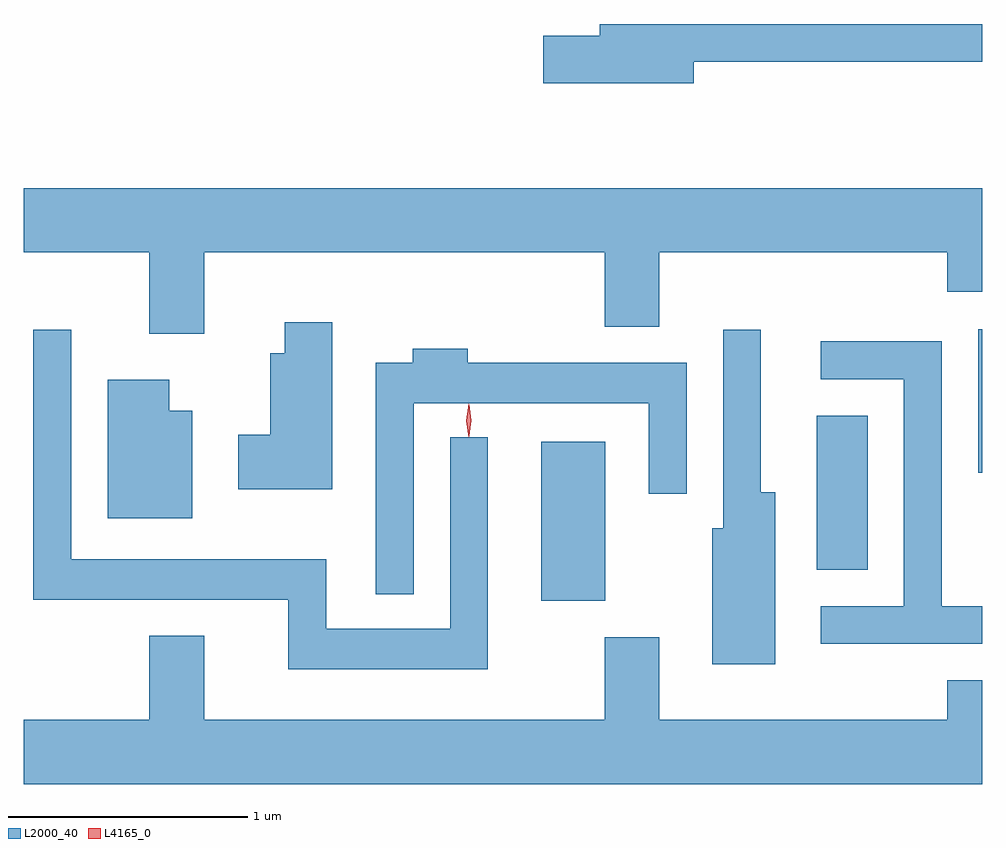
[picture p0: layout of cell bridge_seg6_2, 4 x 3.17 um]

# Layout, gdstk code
import gdstk
lib = gdstk.Library(unit=1e-6, precision=1e-09)
def R(c, l, rs):  # rectangles x0, y0, x1, y1
    for r in rs: c.add(gdstk.rectangle(r[:2], r[2:], *l))
def P(c, l, *ps):  # polygons
    for p in ps: c.add(gdstk.Polygon(p, *l))
L2000_40 = (2000, 40)
L4165_0 = (4165, 0)

bridge_seg6_2 = lib.new_cell('bridge_seg6_2')
R(bridge_seg6_2, L2000_40, [(1461.786,1639.601,1462.054,1640.264), (1462.936,1639.731,1463.149,1640.374), (1463.611,1640.136,1463.627,1640.734)])
P(bridge_seg6_2, L2000_40, [(1462.424,1641.851),(1463.627,1641.851),(1463.627,1642.009),(1462.031,1642.009),(1462.031,1641.959),(1461.796,1641.959),(1461.796,1641.761),(1462.424,1641.761)],
  [(1460.379,1641.056),(1462.051,1641.056),(1462.051,1640.746),(1462.279,1640.746),(1462.279,1641.056),(1463.481,1641.056),(1463.481,1640.891),(1463.627,1640.891),(1463.627,1641.324),(1459.627,1641.324),(1459.627,1641.056),(1460.151,1641.056),(1460.151,1640.716),(1460.379,1640.716)],
  [(1460.914,1640.764),(1460.716,1640.764),(1460.716,1640.634),(1460.656,1640.634),(1460.656,1640.294),(1460.521,1640.294),(1460.521,1640.066),(1460.914,1640.066)],
  [(1462.764,1640.054),(1462.704,1640.054),(1462.704,1640.733),(1462.546,1640.733),(1462.546,1639.904),(1462.501,1639.904),(1462.501,1639.336),(1462.764,1639.336)],
  [(1461.564,1640.283),(1461.406,1640.283),(1461.406,1639.484),(1460.889,1639.484),(1460.889,1639.774),(1459.824,1639.774),(1459.824,1640.733),(1459.666,1640.733),(1459.666,1639.606),(1460.731,1639.606),(1460.731,1639.316),(1461.564,1639.316)],
  [(1463.627,1639.579),(1463.459,1639.579),(1463.459,1640.684),(1462.953,1640.684),(1462.953,1640.526),(1463.301,1640.526),(1463.301,1639.579),(1462.953,1639.579),(1462.953,1639.421),(1463.627,1639.421)],
  [(1461.254,1640.426),(1462.236,1640.426),(1462.236,1640.048),(1462.394,1640.048),(1462.394,1640.594),(1461.479,1640.594),(1461.479,1640.654),(1461.251,1640.654),(1461.251,1640.594),(1461.096,1640.594),(1461.096,1639.628),(1461.254,1639.628)],
  [(1460.329,1640.394),(1460.234,1640.394),(1460.234,1640.524),(1459.976,1640.524),(1459.976,1639.946),(1460.329,1639.946)],
  [(1463.627,1639.269),(1463.481,1639.269),(1463.481,1639.104),(1462.279,1639.104),(1462.279,1639.449),(1462.051,1639.449),(1462.051,1639.104),(1460.379,1639.104),(1460.379,1639.454),(1460.151,1639.454),(1460.151,1639.104),(1459.627,1639.104),(1459.627,1638.836),(1463.627,1638.836)])
P(bridge_seg6_2, L4165_0, [(1461.484,1640.284),(1461.484,1640.284),(1461.474,1640.353),(1461.484,1640.423),(1461.484,1640.423),(1461.485,1640.423),(1461.494,1640.353),(1461.485,1640.284)],
  [(1461.485,1640.287),(1461.485,1640.288),(1461.475,1640.354),(1461.485,1640.42),(1461.485,1640.421),(1461.486,1640.42),(1461.495,1640.354),(1461.486,1640.288)])

lib.write_gds('bridge_seg6_2.gds')
